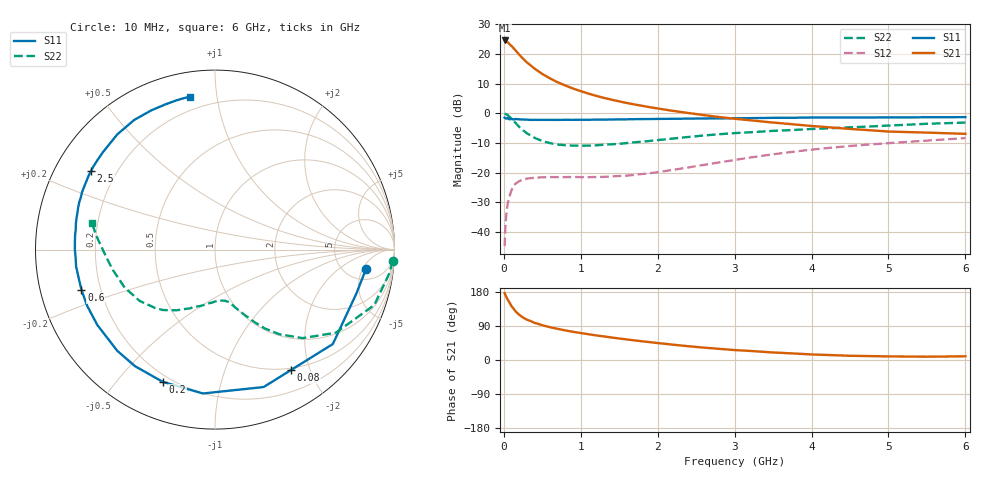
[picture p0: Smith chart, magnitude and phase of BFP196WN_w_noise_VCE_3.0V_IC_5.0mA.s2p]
! Infineon Technologies  Discrete & RF Semiconductors
! BFP196WN
! VCE =  3.0 V,  IC =  5.0 mA
! Common Emitter S-Parameters:  Jan 2017
# GHz  S  MA  R  50
!  f  S11  S21  S12  S22
! GHz  MAG  ANG  MAG  ANG  MAG  ANG  MAG  ANG
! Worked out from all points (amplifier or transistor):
!   77 points, 10 MHz to 6 GHz, reference 50 ohm
!   highest |S21| = 24.6 dB at 10 MHz (marker M1)
!   |S21| within 3 dB of that: start of sweep to 139.7 MHz
!   unconditionally stable (mu >= 1): 1.354 GHz to 2.663 GHz
!   at 130 MHz: K = 0.12, MSG = 23.2 dB, |S12| = -24.6 dB
!   at 2.2 GHz: K = 1.10, MAG = 8.1 dB, |S12| = -19.0 dB
!   at 6 GHz: K = 0.92, MSG = 0.7 dB, |S12| = -8.3 dB
!   lowest NFmin = 1.08 dB at 450 MHz
!   S11 on the Smith chart (normalised r, x): 10 MHz: 7.62, -5.85; 80 MHz: 0.48, -1.72; 200 MHz: 0.17, -0.67; 600 MHz: 0.13, -0.15; 2.5 GHz: 0.11, +0.29; 6 GHz: 0.12, +0.84
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0.01  0.848 -7.3  16.9 176.8  0.0058 88.4  0.9923 -3.7
0.02  0.8253 -17.0  16.39 171.5  0.012 82.0  0.9795 -7.9
0.05  0.8414 -38.7  15.9 159.2  0.0302 71.5  0.9397 -19.2
0.08  0.7934 -57.6  14.4 149.4  0.0423 59.8  0.8586 -27.9
0.1  0.8122 -70.5  13.68 141.8  0.051 55.2  0.8172 -34.5
0.15  0.8045 -94.8  11.59 128.9  0.0651 44.6  0.694 -45.3
0.2  0.7922 -111.6  9.741 119.2  0.072 37.5  0.5933 -52.7
0.25  0.7877 -124.5  8.32 112.0  0.077 32.2  0.5201 -57.7
0.3  0.7839 -134.0  7.209 106.4  0.0796 28.6  0.4607 -61.4
0.4  0.7786 -147.3  5.652 97.9  0.0826 24.6  0.3873 -66.6
0.5  0.7781 -156.3  4.608 91.7  0.0837 22.8  0.3418 -70.7
0.6  0.7771 -163.2  3.881 86.6  0.0846 21.6  0.315 -73.5
0.7  0.7759 -168.4  3.34 82.2  0.0843 21.9  0.2987 -76.2
0.8  0.7796 -173.1  2.941 78.0  0.0844 23.0  0.2904 -79.0
1.1  0.7818 176.8  2.153 68.0  0.0842 27.3  0.2861 -87.7
1.5  0.7912 167.2  1.59 56.7  0.0881 35.9  0.3067 -99.4
2.1  0.8081 155.0  1.154 42.7  0.107 50.3  0.3653 -115.5
2.5  0.8178 147.6  0.973 34.5  0.1292 56.2  0.4119 -124.9
3.1  0.8288 137.2  0.788 25.1  0.1719 58.9  0.4723 -137.7
4.1  0.8505 120.5  0.6 14.0  0.2523 54.0  0.5513 -159.8
5.1  0.8552 108.1  0.49 9.3  0.3216 45.3  0.6312 178.9
6  0.8642 99.4  0.452 9.8  0.383 37.5  0.6998 168.0
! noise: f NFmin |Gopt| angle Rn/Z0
0.45  1.08  0.44  121  0.07
0.9  1.21  0.58  158  0.06
1.9  2.72  0.75  203  0.15
2.4  3.62  0.76  211  0.29
